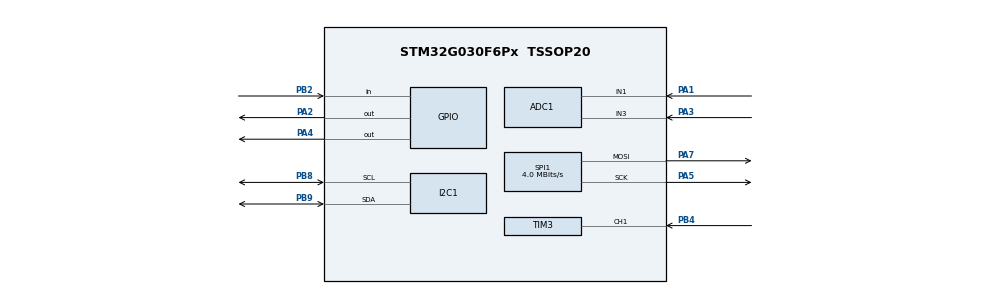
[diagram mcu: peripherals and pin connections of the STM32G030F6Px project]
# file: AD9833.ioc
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ADC1.Channel-2\#ChannelRegularConversion=ADC_CHANNEL_1
ADC1.Channel-3\#ChannelRegularConversion=ADC_CHANNEL_3
ADC1.Channel-4\#ChannelRegularConversion=ADC_CHANNEL_TEMPSENSOR
ADC1.ClockPrescaler=ADC_CLOCK_ASYNC_DIV32
ADC1.ContinuousConvMode=ENABLE
ADC1.DMAContinuousRequests=ENABLE
ADC1.DiscontinuousConvMode=DISABLE
ADC1.EOCSelection=ADC_EOC_SEQ_CONV
ADC1.NbrOfConversion=3
ADC1.NbrOfConversionFlag=1
ADC1.Rank-2\#ChannelRegularConversion=1
ADC1.Rank-3\#ChannelRegularConversion=2
ADC1.Rank-4\#ChannelRegularConversion=3
ADC1.SamplingTime-2\#ChannelRegularConversion=ADC_SAMPLINGTIME_COMMON_1
ADC1.SamplingTime-3\#ChannelRegularConversion=ADC_SAMPLINGTIME_COMMON_1
ADC1.SamplingTime-4\#ChannelRegularConversion=ADC_SAMPLINGTIME_COMMON_1
ADC1.SamplingTimeCommon1=ADC_SAMPLETIME_160CYCLES_5
ADC1.SelectedChannel=ADC_CHANNEL_1|ADC_CHANNEL_3|ADC_CHANNEL_TEMPSENSOR
ADC1.Sequencer=FULLY_CONFIGURABLE
ADC1.master=1
Dma.ADC1.0.Direction=DMA_PERIPH_TO_MEMORY
Dma.ADC1.0.EventEnable=DISABLE
Dma.ADC1.0.Instance=DMA1_Channel1
Dma.ADC1.0.MemDataAlignment=DMA_MDATAALIGN_HALFWORD
Dma.ADC1.0.MemInc=DMA_MINC_ENABLE
Dma.ADC1.0.Mode=DMA_CIRCULAR
Dma.ADC1.0.PeriphDataAlignment=DMA_PDATAALIGN_HALFWORD
Dma.ADC1.0.PeriphInc=DMA_PINC_DISABLE
Dma.ADC1.0.Polarity=HAL_DMAMUX_REQ_GEN_RISING
Dma.ADC1.0.Priority=DMA_PRIORITY_LOW
Dma.ADC1.0.RequestNumber=1
Dma.ADC1.0.SignalID=NONE
Dma.ADC1.0.SyncEnable=DISABLE
Dma.ADC1.0.SyncPolarity=HAL_DMAMUX_SYNC_NO_EVENT
Dma.ADC1.0.SyncRequestNumber=1
Dma.ADC1.0.SyncSignalID=NONE
Dma.Request0=ADC1
I2C1.Timing=0x10707DBC
Mcu.Family=STM32G0
Mcu.Name=STM32G030F6Px
Mcu.Package=TSSOP20
NVIC.DMA1_Channel1_IRQn=true\:0\:0\:false\:false\:true\:false\:true\:true
NVIC.TIM3_IRQn=true\:0\:0\:false\:false\:true\:true\:true\:true
PA1.Signal=SharedAnalog_PA1
PA13.Mode=Serial_Wire
PA13.Signal=SYS_SWDIO
PA14-BOOT0.Mode=Serial_Wire
PA14-BOOT0.Signal=SYS_SWCLK
PA14-BOOT0__PA15.StandardMode=true
PA2.Signal=GPIO_Output
PA3.Signal=SharedAnalog_PA3
PA4.GPIO_Speed=GPIO_SPEED_FREQ_HIGH
PA4.Signal=GPIO_Output
PA5.Mode=TX_Only_Simplex_Unidirect_Master
PA5.Signal=SPI1_SCK
PA7.Mode=TX_Only_Simplex_Unidirect_Master
PA7.Signal=SPI1_MOSI
PB0__PB1__PB2__PA8.StandardMode=true
PB2.Signal=GPIO_Input
PB3__PB4__PB5__PB6.StandardMode=true
PB4.Signal=S_TIM3_CH1
PB7__PB8.StandardMode=true
PB8.Mode=I2C
PB8.Signal=I2C1_SCL
PB9.Mode=I2C
PB9.Signal=I2C1_SDA
PC14-OSC32_IN\ (PC14)__PB9.StandardMode=true
ProjectManager.HeapSize=0x200
ProjectManager.StackSize=0x400
ProjectManager.TargetToolchain=MDK-ARM V5.32
RCC.ADCFreq_Value=64000000
RCC.AHBFreq_Value=64000000
RCC.CortexFreq_Value=64000000
RCC.EXTERNAL_CLOCK_VALUE=12288000
RCC.HCLKFreq_Value=64000000
RCC.HSE_VALUE=8000000
RCC.HSI_VALUE=16000000
RCC.LSE_VALUE=32768
RCC.SYSCLKFreq_VALUE=64000000
RCC.SYSCLKSource=RCC_SYSCLKSOURCE_PLLCLK
RCC.VCOOutputFreq_Value=128000000
SH.S_TIM3_CH1.0=TIM3_CH1,Input_Capture1_from_TI1
SH.S_TIM3_CH1.1=TIM3_CH1,TriggerSource_TI1FP1
SH.SharedAnalog_PA1.0=GPIO_Analog
SH.SharedAnalog_PA1.1=ADC1_IN1,IN1
SH.SharedAnalog_PA3.0=GPIO_Analog
SH.SharedAnalog_PA3.1=ADC1_IN3,IN3
SPI1.BaudRatePrescaler=SPI_BAUDRATEPRESCALER_16
SPI1.CLKPolarity=SPI_POLARITY_HIGH
SPI1.CalculateBaudRate=4.0 MBits/s
SPI1.DataSize=SPI_DATASIZE_16BIT
SPI1.Direction=SPI_DIRECTION_2LINES
SPI1.Mode=SPI_MODE_MASTER
SPI1.VirtualType=VM_MASTER
TIM1.Period=36
TIM3.AutoReloadPreload=TIM_AUTORELOAD_PRELOAD_ENABLE
TIM3.Channel-Input_Capture1_from_TI1=TIM_CHANNEL_1
TIM3.Channel-Input_Capture2_from_TI1_63=TIM_CHANNEL_2
TIM3.ICFilter_CH1=8
TIM3.ICPolarity_CH2=TIM_INPUTCHANNELPOLARITY_FALLING
TIM3.Prescaler=63
VP_ADC1_TempSens_Input.Mode=IN-TempSens
VP_TIM1_VS_ClockSourceINT.Mode=Internal
VP_TIM3_VS_ClockSourceINT.Mode=Internal
VP_TIM3_VS_ControllerModeReset.Mode=Reset Mode
VP_TIM3_VS_indirect_ch1.Mode=Input_Capture2_from_TI1_63
board=custom

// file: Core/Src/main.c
/* USER CODE BEGIN Header */
/**
  ******************************************************************************
  * @file           : main.c
  * @brief          : Main program body
  ******************************************************************************
  * @attention
  *
  * Copyright (c) 2024 STMicroelectronics.
  * All rights reserved.
  *
  * This software is licensed under terms that can be found in the LICENSE file
  * in the root directory of this software component.
  * If no LICENSE file comes with this software, it is provided AS-IS.
  *
  ******************************************************************************
  */
/* USER CODE END Header */
#include "main.h"
#include "adc.h"
#include "dma.h"
#include "i2c.h"
#include "spi.h"
#include "tim.h"
#include "gpio.h"

/* USER CODE BEGIN Includes */
#include "u8g2.h"
#include "oled_driver.h"
#include "stdio.h"
/* USER CODE END Includes */

/* USER CODE BEGIN PD */
#define TRI_WAVE 	0
#define SIN_WAVE 	1
#define SQU_WAVE 	2
/* USER CODE END PD */

/* USER CODE BEGIN PM */
#define BASE_FREQ 1630000
/* USER CODE END PM */

/* USER CODE BEGIN PV */
static u8g2_t u8g2;
char sprintf_tmp[16];
uint32_t AD9833_freq = BASE_FREQ;
uint16_t ra_adc, cur_adc;
uint16_t adc_buf[3];
uint16_t PWM1_T_Count, PWM1_D_Count;
float PWM1_Duty, PWM1_Freq, FlowRate;
uint16_t chip_temp;
/* USER CODE END PV */

void SystemClock_Config(void);
/* USER CODE BEGIN PFP */
void Ra_ADC_Read(void);
void Cur_ADC_Read(void);
void AD9833_Write(uint16_t dat);
void AD9833_WaveSet(double Freq,unsigned int Freq_SFR,unsigned int WaveMode,unsigned int Phase);
/* USER CODE END PFP */

int main(void)
{

  /* MCU Configuration--------------------------------------------------------*/

  /* Reset of all peripherals, Initializes the Flash interface and the Systick. */
  HAL_Init();

  /* Configure the system clock */
  SystemClock_Config();

  /* Initialize all configured peripherals */
  MX_GPIO_Init();
  MX_DMA_Init();
  MX_TIM1_Init();
  MX_SPI1_Init();
  MX_TIM3_Init();
  MX_I2C1_Init();
  MX_ADC1_Init();
  /* USER CODE BEGIN 2 */
	HAL_ADCEx_Calibration_Start(&hadc1);
	HAL_ADC_Start_DMA(&hadc1, (uint32_t *)adc_buf, 3);
	u8g2_Setup_ssd1306_i2c_128x64_noname_f(&u8g2, U8G2_R0, u8x8_byte_hw_i2c, u8x8_gpio_and_delay_hw);
	u8g2_InitDisplay(&u8g2);
	u8g2_SetPowerSave(&u8g2, 0);

	LL_TIM_CC_EnableChannel(TIM3, LL_TIM_CHANNEL_CH1);
	LL_TIM_CC_EnableChannel(TIM3, LL_TIM_CHANNEL_CH2);
	LL_TIM_EnableCounter(TIM3);
	LL_TIM_EnableIT_CC1(TIM3);
	LL_TIM_EnableIT_CC2(TIM3);

	//AD9833_WaveSet(AD9833_freq, 0, SQU_WAVE, 0);
	//AD9833_Write(0x01C0); //Sleep

	//LL_TIM_EnableAllOutputs(TIM1);
	//LL_TIM_CC_EnableChannel(TIM1, LL_TIM_CHANNEL_CH1);
	//LL_TIM_EnableCounter(TIM1);
  /* USER CODE END 2 */

  /* Infinite loop */
  /* USER CODE BEGIN WHILE */
  while (1)
  {
		Cur_ADC_Read();
		HAL_Delay(10);
		Ra_ADC_Read();
		u8g2_FirstPage(&u8g2);
		do
    {
			u8g2_SetFontMode(&u8g2, 1);  // Transparent
			u8g2_SetFontDirection(&u8g2, 0);
			u8g2_SetFont(&u8g2, u8g2_font_9x15_te);
			u8g2_DrawStr(&u8g2, 0, 10, "Freq:");
			sprintf(sprintf_tmp, "%uHz", AD9833_freq);
			u8g2_DrawStr(&u8g2, 45, 10, sprintf_tmp);
			u8g2_DrawStr(&u8g2, 0, 22, "Flow:");
			sprintf(sprintf_tmp, "%.2fL/min", FlowRate);
			u8g2_DrawStr(&u8g2, 45, 22, sprintf_tmp);
			u8g2_DrawStr(&u8g2, 0, 34, "Current:");
			sprintf(sprintf_tmp, "%dmA", cur_adc);
			u8g2_DrawStr(&u8g2, 72, 34, sprintf_tmp);
			u8g2_DrawStr(&u8g2, 0, 46, "Temp:");
			chip_temp = __LL_ADC_CALC_TEMPERATURE(3300, adc_buf[2], LL_ADC_RESOLUTION_12B);
			sprintf(sprintf_tmp, "%dC", chip_temp);
			u8g2_DrawStr(&u8g2, 45, 46, sprintf_tmp);
    } while (u8g2_NextPage(&u8g2));
		LL_mDelay(50);
    /* USER CODE END WHILE */

  }
}

void SystemClock_Config(void)
{
  LL_FLASH_SetLatency(LL_FLASH_LATENCY_2);
  while(LL_FLASH_GetLatency() != LL_FLASH_LATENCY_2)
  {
  }

  /* HSI configuration and activation */
  LL_RCC_HSI_Enable();
  while(LL_RCC_HSI_IsReady() != 1)
  {
  }

  /* Main PLL configuration and activation */
  LL_RCC_PLL_ConfigDomain_SYS(LL_RCC_PLLSOURCE_HSI, LL_RCC_PLLM_DIV_1, 8, LL_RCC_PLLR_DIV_2);
  LL_RCC_PLL_Enable();
  LL_RCC_PLL_EnableDomain_SYS();
  while(LL_RCC_PLL_IsReady() != 1)
  {
  }

  /* Set AHB prescaler*/
  LL_RCC_SetAHBPrescaler(LL_RCC_SYSCLK_DIV_1);

  /* Sysclk activation on the main PLL */
  LL_RCC_SetSysClkSource(LL_RCC_SYS_CLKSOURCE_PLL);
  while(LL_RCC_GetSysClkSource() != LL_RCC_SYS_CLKSOURCE_STATUS_PLL)
  {
  }

  /* Set APB1 prescaler*/
  LL_RCC_SetAPB1Prescaler(LL_RCC_APB1_DIV_1);
  /* Update CMSIS variable (which can be updated also through SystemCoreClockUpdate function) */
  LL_SetSystemCoreClock(64000000);

   /* Update the time base */
  if (HAL_InitTick (TICK_INT_PRIORITY) != HAL_OK)
  {
    Error_Handler();
  }
}

/* USER CODE BEGIN 4 */

void Ra_ADC_Read(void)
{
	ra_adc = __LL_ADC_CALC_DATA_TO_VOLTAGE(3300, adc_buf[0], LL_ADC_RESOLUTION_12B);
	AD9833_freq = (BASE_FREQ - 1) + ra_adc*35;
	AD9833_WaveSet(AD9833_freq, 0, SQU_WAVE, 0);
}

void Cur_ADC_Read(void)
{
	cur_adc = __LL_ADC_CALC_DATA_TO_VOLTAGE(3300, adc_buf[1], LL_ADC_RESOLUTION_12B) * 4;
}

void AD9833_Write(uint16_t dat)
{
	LL_GPIO_SetOutputPin(GPIOA, LL_GPIO_PIN_7);
	LL_GPIO_ResetOutputPin(GPIOA, LL_GPIO_PIN_7);
	LL_SPI_TransmitData16(SPI1, dat);
	while(LL_SPI_IsActiveFlag_BSY(SPI1));
	LL_GPIO_SetOutputPin(GPIOA, LL_GPIO_PIN_7);
}

void AD9833_WaveSet(double Freq,unsigned int Freq_SFR,unsigned int WaveMode,unsigned int Phase )
{

		int frequence_LSB,frequence_MSB,Phs_data;
		double   frequence_mid,frequence_DATA;
		long int frequence_hex;

		frequence_mid=268435456/25;//For 25Mhz
		frequence_DATA=Freq;
		frequence_DATA=frequence_DATA/1000000;
		frequence_DATA=frequence_DATA*frequence_mid;
		frequence_hex=frequence_DATA;
		frequence_LSB=frequence_hex;
		frequence_LSB=frequence_LSB&0x3fff;
		frequence_MSB=frequence_hex>>14;
		frequence_MSB=frequence_MSB&0x3fff;

		Phs_data=Phase|0xC000;	//Phase
		AD9833_Write(0x0100); //Reset AD9833
		AD9833_Write(0x2100); //Set B28 and RESET to 1

		if(Freq_SFR==0)				  //Set freq to Freq_SFR_0
		{
		 	frequence_LSB=frequence_LSB|0x4000;
		 	frequence_MSB=frequence_MSB|0x4000;
			AD9833_Write(frequence_LSB);
			AD9833_Write(frequence_MSB);
			AD9833_Write(Phs_data);
	    }
		if(Freq_SFR==1)
		{
			 frequence_LSB=frequence_LSB|0x8000;
			 frequence_MSB=frequence_MSB|0x8000;
			AD9833_Write(frequence_LSB);
			AD9833_Write(frequence_MSB);
			AD9833_Write(Phs_data);
		}

		if(WaveMode==TRI_WAVE)
		 	AD9833_Write(0x2002);
		if(WaveMode==SQU_WAVE)
			AD9833_Write(0x2028);
		if(WaveMode==SIN_WAVE)
			AD9833_Write(0x2000);

}
/* USER CODE END 4 */

void Error_Handler(void)
{
  __disable_irq();
  while (1)
  {
  }
}
